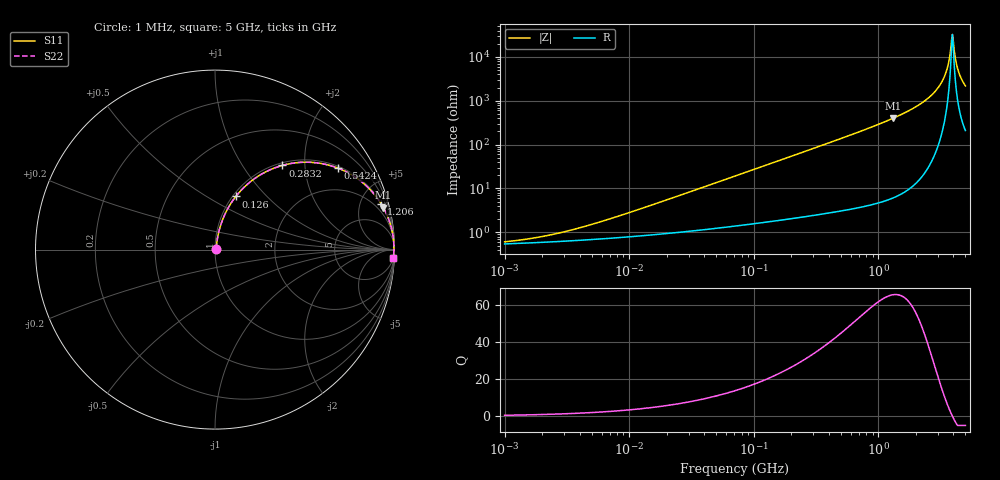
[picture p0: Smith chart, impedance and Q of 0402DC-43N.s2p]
# MHz  S  MA  R  50
!Freq  MagS11  AngS11  MagS21  AngS21  MagS12  AngS12  MagS22  AngS22
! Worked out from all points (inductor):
!   801 points, 1 MHz to 5 GHz, reference 50 ohm
!   read as one part in series: L = 43 nH near 8.51 MHz
!   highest Q = 65.7 at 1.313 GHz (marker M1), where L = 48.4 nH
!   self-resonance near 3.892 GHz
!   S11 on the Smith chart (normalised r, x): 1 MHz: 1.01, +0.01; 126 MHz: 1.03, +0.68; 283.2 MHz: 1.05, +1.54; 542.4 MHz: 1.06, +2.99; 1.206 GHz: 1.11, +7.19; 5 GHz: 5, -44
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1  0.006037 26.3  0.9946 -0.2  0.9946 -0.2  0.006037 26.3
2.020008  0.007999 42.4  0.9941 -0.3  0.9941 -0.3  0.007999 42.4
4.168304  0.01298 58.9  0.9934 -0.6  0.9934 -0.6  0.01298 58.9
17.19065  0.04684 76.4  0.99 -2.6  0.99 -2.6  0.04684 76.4
70.89654  0.1862 75.2  0.9692 -10.7  0.9692 -10.7  0.1862 75.2
126.0258  0.3182 68.6  0.9323 -18.5  0.9323 -18.5  0.3182 68.6
283.1902  0.601 51.3  0.781 -36.9  0.781 -36.9  0.601 51.3
295.5183  0.6173 50.2  0.7685 -38.1  0.7685 -38.1  0.6173 50.2
542.3736  0.823 33.4  0.5508 -55.4  0.5508 -55.4  0.823 33.4
1205.843  0.9596 15.5  0.2668 -73.6  0.2668 -73.6  0.9596 15.5
1218.757  0.9606 15.3  0.2637 -73.8  0.2637 -73.8  0.9606 15.3
1313.116  0.9666 14.0  0.2421 -75.1  0.2421 -75.1  0.9666 14.0
2143.508  0.9904 6.9  0.1202 -82.0  0.1202 -82.0  0.9904 6.9
2919.412  0.9961 3.2  0.05673 -84.4  0.05673 -84.4  0.9961 3.2
3461.947  0.9971 1.4  0.02415 -82.3  0.02415 -82.3  0.9971 1.4
3612.657  0.9971 0.9  0.01621 -79.2  0.01621 -79.2  0.9971 0.9
3810.303  0.997 0.3  0.006648 -63.3  0.006648 -63.3  0.997 0.3
3934.044  0.9969 -0.0  0.003067 0.6  0.003067 0.6  0.9969 -0.0
4061.803  0.9968 -0.3  0.006822 61.7  0.006822 61.7  0.9968 -0.3
4238.626  0.9965 -0.8  0.01442 75.6  0.01442 75.6  0.9965 -0.8
4423.147  0.9961 -1.3  0.02233 79.4  0.02233 79.4  0.9961 -1.3
5000  0.9946 -2.6  0.0455 81.9  0.0455 81.9  0.9946 -2.6
